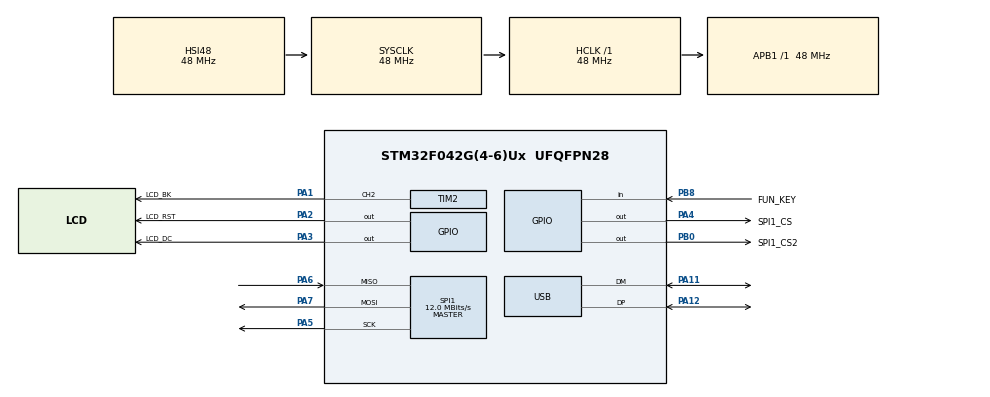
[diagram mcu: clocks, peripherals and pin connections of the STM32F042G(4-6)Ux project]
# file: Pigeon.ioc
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Mcu.Family=STM32F0
Mcu.Name=STM32F042G(4-6)Ux
Mcu.Package=UFQFPN28
NVIC.USB_IRQn=true\:0\:0\:false\:false\:true\:false\:true
PA1.GPIO_Label=LCD_BK
PA1.Signal=S_TIM2_CH2
PA11.Mode=Device
PA11.Signal=USB_DM
PA12.Mode=Device
PA12.Signal=USB_DP
PA2.GPIO_Label=LCD_RST
PA2.Signal=GPIO_Output
PA3.GPIO_Label=LCD_DC
PA3.Signal=GPIO_Output
PA4.GPIO_Label=SPI1_CS
PA4.Signal=GPIO_Output
PA5.Mode=Full_Duplex_Master
PA5.Signal=SPI1_SCK
PA6.Mode=Full_Duplex_Master
PA6.Signal=SPI1_MISO
PA7.Mode=Full_Duplex_Master
PA7.Signal=SPI1_MOSI
PB0.GPIO_Label=SPI1_CS2
PB0.Signal=GPIO_Output
PB8.GPIO_Label=FUN_KEY
PB8.GPIO_PuPd=GPIO_PULLDOWN
PB8.Signal=GPIO_Input
ProjectManager.HeapSize=0x200
ProjectManager.StackSize=0x400
ProjectManager.TargetToolchain=Makefile
RCC.AHBFreq_Value=48000000
RCC.APB1Freq_Value=48000000
RCC.APB1TimFreq_Value=48000000
RCC.HCLKFreq_Value=48000000
RCC.SYSCLKFreq_VALUE=48000000
RCC.SYSCLKSource=RCC_SYSCLKSOURCE_HSI48
SH.S_TIM2_CH2.0=TIM2_CH2,PWM Generation2 CH2
SPI1.BaudRatePrescaler=SPI_BAUDRATEPRESCALER_4
SPI1.CalculateBaudRate=12.0 MBits/s
SPI1.DataSize=SPI_DATASIZE_8BIT
SPI1.Direction=SPI_DIRECTION_2LINES
SPI1.Mode=SPI_MODE_MASTER
SPI1.VirtualType=VM_MASTER
TIM2.Channel-PWM\ Generation2\ CH2=TIM_CHANNEL_2
TIM2.OCPolarity_2=TIM_OCPOLARITY_LOW
TIM2.Period=100-1
TIM2.Prescaler=48-1
USB_DEVICE.CLASS_NAME_FS=CUSTOM_HID
USB_DEVICE.CONFIGURATION_STRING_CUSTOMHID_FS=Pigeon Cage
USB_DEVICE.INTERFACE_STRING_CUSTOMHID_FS=Pigeon Keyboard
USB_DEVICE.MANUFACTURER_STRING=Mo10
USB_DEVICE.PID_CUSTOMHID_FS=0x2700
USB_DEVICE.PRODUCT_STRING_CUSTOMHID_FS=Pigeon
USB_DEVICE.VID=0x1209
USB_DEVICE.VirtualMode=CustomHid
USB_DEVICE.VirtualModeFS=Custom_Hid_FS
VP_SYS_VS_PINREMAP.Mode=PINREMAP
VP_USB_DEVICE_VS_USB_DEVICE_CUSTOM_HID_FS.Mode=CUSTOM_HID_FS
board=custom

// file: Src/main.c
/* USER CODE BEGIN Header */
/**
  ******************************************************************************
  * @file           : main.c
  * @brief          : Main program body
  ******************************************************************************
  * @attention
  *
  * <h2><center>&copy; Copyright (c) 2019 STMicroelectronics.
  * All rights reserved.</center></h2>
  *
  * This software component is licensed by ST under BSD 3-Clause license,
  * the "License"; You may not use this file except in compliance with the
  * License. You may obtain a copy of the License at:
  *                        opensource.org/licenses/BSD-3-Clause
  *
  ******************************************************************************
  */
/* USER CODE END Header */

#include "main.h"
#include "spi.h"
#include "tim.h"
#include "usb_device.h"
#include "gpio.h"

/* USER CODE BEGIN Includes */
#include "usbd_custom_hid_if.h"
#include "bootloader.h"
#include "settings.h"
#include "st7735_hal.h"
#include "usb_comm.h"
// #include "usb_cmd.h"
/* USER CODE END Includes */

/* USER CODE BEGIN PV */
extern TIM_HandleTypeDef htim2;
extern SPI_HandleTypeDef hspi1;
extern USBD_HandleTypeDef hUsbDeviceFS;
uint8_t b=0;
/* keybuf[0] -bit0: Left CTRL
 *           -bit1: Left SHIFT
 *           -bit2: Left ALT
 *           -bit3: Left GUI
 *           -bit4: Right CTRL
 *           -bit5: Right SHIFT
 *           -bit6: Right ALT
 *           -bit7: Right GUI
 * keybuf[1] - Padding = Always 0x00
 * keybuf[2] - Key 1
 * keybuf[3] - Key 2
 * keybuf[4] - Key 3
 * keybuf[5] - Key 4
 * keybuf[6] - Key 5
 * keybuf[7] - Key 6
 */
 uint8_t keybuf[8] = {0x00, 0x00, 0x00, 0x00, 0x00, 0x00, 0x00, 0x00};
uint8_t sth[13]={0x1e,0x1e,0x21,0x22,0x1e,0x21,0x1e,0x26,0x1e,0x26,0x25,0x1e,0x27};
/* USER CODE END PV */

void SystemClock_Config(void);

/* USER CODE BEGIN 0 */
void keyPress(){
  for (int i = 0; i < 13; ++i)
  {
    keybuf[2]=sth[i];
    while(USBD_SendReport_FS(HID_KEYBOARD_EPIN_ADDR, keybuf, 8)); //发送键值
    HAL_Delay(11);
    keybuf[2]=0x00;
    while(USBD_SendReport_FS(HID_KEYBOARD_EPIN_ADDR, keybuf, 8)); //发送键值
    HAL_Delay(11);
  }
}
/* USER CODE END 0 */

int main(void)
{
  /* USER CODE BEGIN 1 */
  BOOTLOADER_Init();
  /* USER CODE END 1 */

  /* MCU Configuration--------------------------------------------------------*/

  /* Reset of all peripherals, Initializes the Flash interface and the Systick. */
  HAL_Init();

  /* Configure the system clock */
  SystemClock_Config();

  /* Initialize all configured peripherals */
  MX_GPIO_Init();
  MX_SPI1_Init();
  MX_USB_DEVICE_Init();
  MX_TIM2_Init();
  /* USER CODE BEGIN 2 */
  HAL_TIM_PWM_Start(&htim2, TIM_CHANNEL_2);

  Pigeon_SettingsTypeDef *settings = Pigeon_GetSettings();
  // Set Screen Profile
  ST7735_SetProfile(settings->ProfileIdx);
  ST7735_Init(&hspi1);
  // Draw Boot Screen
  ST7735_DrawRLE(settings->ColorTab, settings->RLEData, settings->RLELen);
  // Set Brightness
  __HAL_TIM_SET_COMPARE(&htim2, TIM_CHANNEL_2, settings->Brightness);
  /* USER CODE END 2 */

  /* Infinite loop */
  /* USER CODE BEGIN WHILE */
  while (1)
  {
    Pigeon_Comm_Poll();

    if(HAL_GPIO_ReadPin(FUN_KEY_GPIO_Port, FUN_KEY_Pin) == GPIO_PIN_SET)
    {
      HAL_Delay(20);
      if(HAL_GPIO_ReadPin(FUN_KEY_GPIO_Port, FUN_KEY_Pin) == GPIO_PIN_SET)
      {
        while(HAL_GPIO_ReadPin(FUN_KEY_GPIO_Port, FUN_KEY_Pin) == GPIO_PIN_SET)
        {
        }
        keyPress();
      }
    }
    /* USER CODE END WHILE */

  }
}

void SystemClock_Config(void)
{
  RCC_OscInitTypeDef RCC_OscInitStruct = {0};
  RCC_ClkInitTypeDef RCC_ClkInitStruct = {0};
  RCC_PeriphCLKInitTypeDef PeriphClkInit = {0};

  /** Initializes the CPU, AHB and APB busses clocks
  */
  RCC_OscInitStruct.OscillatorType = RCC_OSCILLATORTYPE_HSI48;
  RCC_OscInitStruct.HSI48State = RCC_HSI48_ON;
  RCC_OscInitStruct.PLL.PLLState = RCC_PLL_NONE;
  if (HAL_RCC_OscConfig(&RCC_OscInitStruct) != HAL_OK)
  {
    Error_Handler();
  }
  /** Initializes the CPU, AHB and APB busses clocks
  */
  RCC_ClkInitStruct.ClockType = RCC_CLOCKTYPE_HCLK|RCC_CLOCKTYPE_SYSCLK
                              |RCC_CLOCKTYPE_PCLK1;
  RCC_ClkInitStruct.SYSCLKSource = RCC_SYSCLKSOURCE_HSI48;
  RCC_ClkInitStruct.AHBCLKDivider = RCC_SYSCLK_DIV1;
  RCC_ClkInitStruct.APB1CLKDivider = RCC_HCLK_DIV1;

  if (HAL_RCC_ClockConfig(&RCC_ClkInitStruct, FLASH_LATENCY_1) != HAL_OK)
  {
    Error_Handler();
  }
  PeriphClkInit.PeriphClockSelection = RCC_PERIPHCLK_USB;
  PeriphClkInit.UsbClockSelection = RCC_USBCLKSOURCE_HSI48;

  if (HAL_RCCEx_PeriphCLKConfig(&PeriphClkInit) != HAL_OK)
  {
    Error_Handler();
  }
}

void Error_Handler(void)
{
}

/************************ (C) COPYRIGHT STMicroelectronics *****END OF FILE****/
